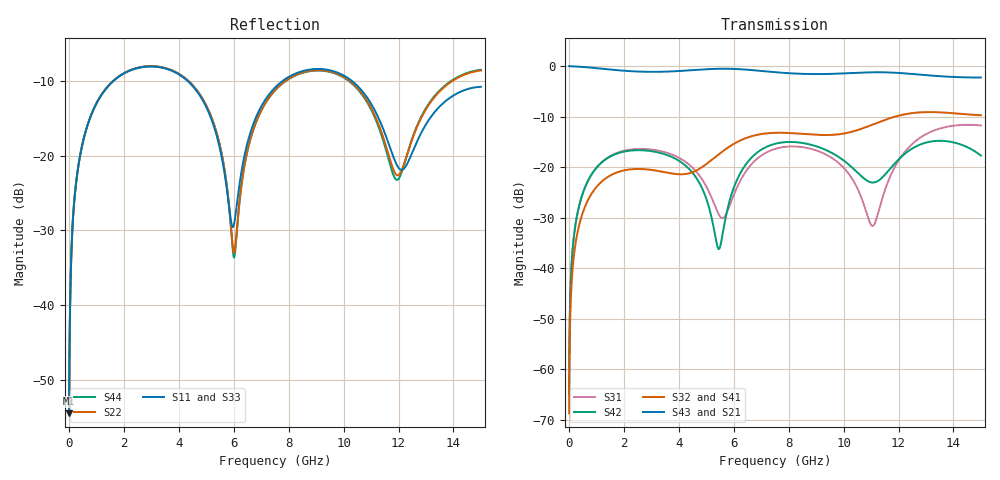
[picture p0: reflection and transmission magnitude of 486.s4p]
! Created with skrf 1.8.0 (http://scikit-rf.org).
# GHz S RI R 50.0
!freq ReS11 ImS11 ReS12 ImS12 ReS13 ImS13
! ReS14 ImS14
! ReS21 ImS21 ReS22 ImS22 ReS23 ImS23
! ReS24 ImS24
! ReS31 ImS31 ReS32 ImS32 ReS33 ImS33
! ReS34 ImS34
! ReS41 ImS41 ReS42 ImS42 ReS43 ImS43
! ReS44 ImS44
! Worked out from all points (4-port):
!   2499 points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, 5 MHz to 15 GHz, reference 50 ohm
!   strongest paths, dB at 5 MHz, 3.476 GHz, 7.19 GHz, 11.1 GHz, 15 GHz:
!     S43: 0.0, -1.1, -1.1, -1.2, -2.3
!     S21: 0.0, -1.1, -1.1, -1.2, -2.2
!     S32: -68.7, -21.0, -13.3, -11.5, -9.7
!     S41: -68.7, -21.0, -13.3, -11.5, -9.7
!     S42: -64.8, -17.4, -16.0, -23.0, -17.7
!     S31: -64.8, -17.0, -17.1, -31.5, -11.7
!   lowest |S11| = -54.5 dB at 5 MHz (marker M1), VSWR 1.00, Z = 50.2 + j0.115 ohm
!   |S11| at or under -10 dB: start of sweep to 1.615 GHz; 4.322 GHz to 7.778 GHz (3.456 GHz wide, 57.1 % of centre); 10.31 GHz to end of sweep
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0.005  0.0015 0.00114  0.9985 -0.00292  7.42e-05 0.000571  -7.22e-05 -0.000361
       0.9985 -0.00292  0.0015 0.00114  -7.22e-05 -0.000361  7.41e-05 0.000571
       7.42e-05 0.000571  -7.22e-05 -0.000361  0.0015 0.00115  0.9985 -0.00292
       -7.22e-05 -0.000361  7.41e-05 0.000571  0.9985 -0.00292  0.0015 0.00115
0.3126303  0.0207 0.0759  0.9718 -0.1825  0.00923 0.0342  -0.00755 -0.0215
           0.9718 -0.1825  0.0207 0.0759  -0.00756 -0.0215  0.0088 0.0343
           0.00923 0.0342  -0.00756 -0.0215  0.0207 0.0759  0.9718 -0.1825
           -0.00755 -0.0215  0.0088 0.0343  0.9718 -0.1825  0.0207 0.0759
1.569404  0.2468 0.1886  0.5983 -0.7004  0.1173 0.0606  -0.0834 -0.0141
          0.5983 -0.7004  0.2487 0.1876  -0.0835 -0.014  0.1112 0.0678
          0.1173 0.0606  -0.0835 -0.014  0.2468 0.1887  0.5983 -0.7004
          -0.0834 -0.0141  0.1112 0.0678  0.5983 -0.7004  0.2487 0.1876
5.80867  0.0354 -0.0338  -0.9294 -0.1504  -0.0279 0.0271  -0.023 0.1562
         -0.9294 -0.1504  0.0251 -0.0439  -0.0214 0.1563  0.0194 0.0375
         -0.0279 0.0271  -0.0214 0.1563  0.0368 -0.0337  -0.9293 -0.1506
         -0.023 0.1562  0.0194 0.0375  -0.9293 -0.1506  0.0237 -0.0441
9.316382  0.376 -0.0416  0.0274 0.8335  0.1119 -0.076  0.1988 -0.059
          0.0274 0.8335  0.3696 -0.0368  0.1986 -0.0621  0.1121 -0.0992
          0.1119 -0.076  0.1986 -0.0621  0.373 -0.0417  0.0269 0.8347
          0.1988 -0.059  0.1121 -0.0992  0.0269 0.8347  0.3673 -0.036
11.06086  0.154 -0.1477  0.6893 0.5269  -0.026 -0.00386  0.1596 -0.2108
          0.6893 0.5269  0.1438 -0.1377  0.1555 -0.2139  -0.0648 -0.0278
          -0.026 -0.00386  0.1555 -0.2139  0.1527 -0.143  0.6905 0.5271
          0.1596 -0.2108  -0.0648 -0.0278  0.6905 0.5271  0.1389 -0.135
15  0.2884 0.0209  0.1669 -0.7537  0.1764 -0.1894  -0.3256 -0.0137
    0.1669 -0.7537  0.3717 -0.00384  -0.327 -0.00596  0.1302 0.000979
    0.1764 -0.1894  -0.327 -0.00596  0.2912 0.0207  0.1685 -0.752
    -0.3256 -0.0137  0.1302 0.000979  0.1685 -0.752  0.3757 0.00146
